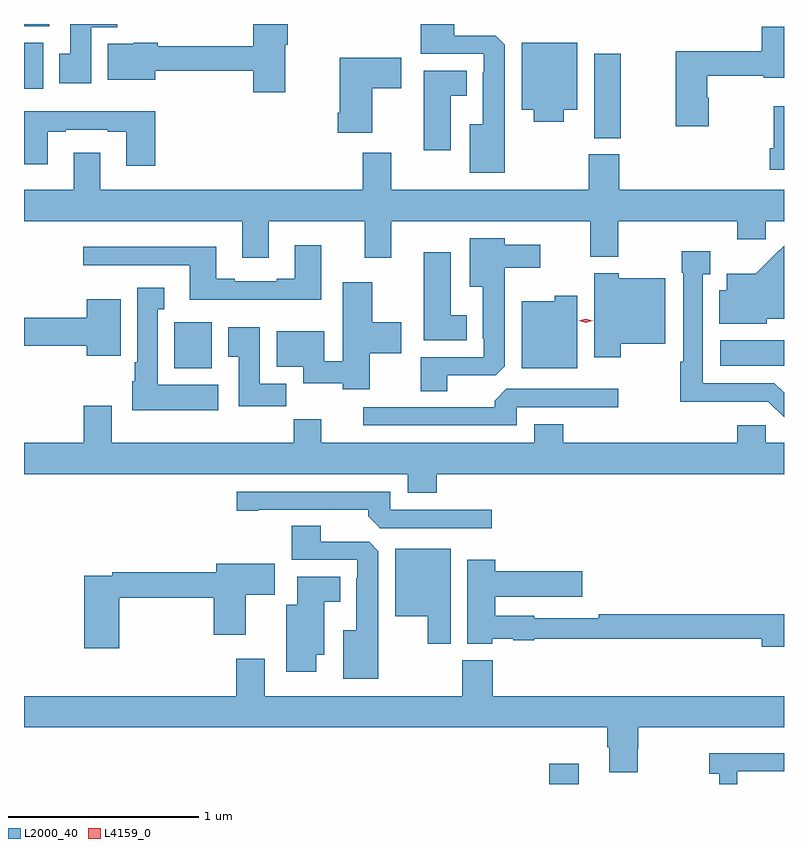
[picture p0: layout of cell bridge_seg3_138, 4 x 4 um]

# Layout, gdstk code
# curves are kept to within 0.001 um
import gdstk
lib = gdstk.Library(unit=1e-6, precision=1e-09)
def R(c, l, rs):  # rectangles x0, y0, x1, y1
    for r in rs: c.add(gdstk.rectangle(r[:2], r[2:], *l))
def P(c, l, *ps):  # polygons
    for p in ps: c.add(gdstk.Polygon(p, *l))
L2000_40 = (2000, 40)
L4159_0 = (4159, 0)

bridge_seg3_138 = lib.new_cell('bridge_seg3_138')
R(bridge_seg3_138, L2000_40, [(323.845,668.649,324.001,668.755), (321.872,670.838,322.069,671.08), (324.744,670.85,325.08,670.984), (324.08,672.049,324.222,672.493), (321.08,672.308,321.181,672.55), (321.08,672.638,321.214,672.649)])
P(bridge_seg3_138, L2000_40, [(321.433,672.632),(321.572,672.632),(321.572,672.649),(321.323,672.649),(321.323,672.492),(321.266,672.492),(321.266,672.336),(321.433,672.336)],
  [(323.611,672.539),(323.562,672.588),(323.344,672.588),(323.344,672.649),(323.168,672.649),(323.168,672.492),(323.499,672.492),(323.499,672.395),(323.495,672.395),(323.495,672.121),(323.426,672.121),(323.426,671.867),(323.611,671.867)],
  [(322.456,672.539),(322.469,672.539),(322.469,672.649),(322.286,672.649),(322.286,672.532),(321.785,672.532),(321.785,672.55),(321.654,672.55),(321.654,672.544),(321.521,672.544),(321.521,672.356),(321.772,672.356),(321.772,672.403),(322.286,672.403),(322.286,672.291),(322.456,672.291)],
  [(324.684,672.261),(324.676,672.261),(324.676,672.376),(324.974,672.376),(324.974,672.366),(325.08,672.366),(325.08,672.634),(324.962,672.634),(324.962,672.505),(324.511,672.505),(324.511,672.111),(324.684,672.111)],
  [(323.92,672.197),(323.992,672.197),(323.992,672.55),(323.699,672.55),(323.699,672.197),(323.762,672.197),(323.762,672.134),(323.92,672.134)],
  [(322.912,672.31),(323.065,672.31),(323.065,672.472),(322.742,672.472),(322.742,672.181),(322.73,672.181),(322.73,672.077),(322.912,672.077)],
  [(323.326,672.272),(323.41,672.272),(323.41,672.403),(323.183,672.403),(323.183,671.985),(323.326,671.985)],
  [(325.08,672.217),(325.026,672.217),(325.026,671.995),(325.006,671.995),(325.006,671.883),(325.08,671.883)],
  [(321.77,672.19),(321.08,672.19),(321.08,671.912),(321.205,671.912),(321.205,672.081),(321.301,672.081),(321.301,672.093),(321.521,672.093),(321.521,672.081),(321.617,672.081),(321.617,671.904),(321.77,671.904)],
  [(322.369,671.612),(322.874,671.612),(322.874,671.418),(323.014,671.418),(323.014,671.612),(324.059,671.612),(324.059,671.423),(324.207,671.423),(324.207,671.612),(324.833,671.612),(324.833,671.517),(324.984,671.517),(324.984,671.612),(325.08,671.612),(325.08,671.776),(324.212,671.776),(324.212,671.964),(324.052,671.964),(324.052,671.776),(323.014,671.776),(323.014,671.971),(322.862,671.971),(322.862,671.776),(321.481,671.776),(321.481,671.971),(321.341,671.971),(321.341,671.776),(321.08,671.776),(321.08,671.612),(322.229,671.612),(322.229,671.418),(322.369,671.418)],
  [(323.308,670.8),(323.562,670.8),(323.611,670.849),(323.611,671.366),(323.797,671.366),(323.797,671.488),(323.611,671.488),(323.611,671.521),(323.426,671.521),(323.426,671.267),(323.495,671.267),(323.495,670.993),(323.499,670.993),(323.499,670.896),(323.168,670.896),(323.168,670.717),(323.308,670.717)],
  [(322.645,671.485),(322.505,671.485),(322.505,671.308),(322.409,671.308),(322.409,671.295),(322.189,671.295),(322.189,671.308),(322.093,671.308),(322.093,671.476),(321.393,671.476),(321.393,671.379),(321.953,671.379),(321.953,671.198),(322.645,671.198)],
  [(324.99,671.099),(325.08,671.099),(325.08,671.482),(325.034,671.437),(324.931,671.335),(324.779,671.335),(324.779,671.248),(324.74,671.248),(324.74,671.072),(324.99,671.072)],
  [(325.08,670.707),(325.029,670.758),(324.652,670.758),(324.652,671.331),(324.691,671.331),(324.691,671.452),(324.541,671.452),(324.541,671.339),(324.551,671.339),(324.551,670.871),(324.534,670.871),(324.534,670.661),(324.996,670.662),(325.08,670.578)],
  [(323.41,671.116),(323.326,671.116),(323.326,671.449),(323.183,671.449),(323.183,670.985),(323.41,670.985)],
  [(324.222,670.967),(324.454,670.967),(324.454,671.311),(324.21,671.311),(324.21,671.338),(324.08,671.338),(324.08,670.896),(324.222,670.896)],
  [(322.9,670.916),(323.065,670.916),(323.065,671.079),(322.912,671.079),(322.912,671.29),(322.757,671.29),(322.757,670.875),(322.66,670.875),(322.66,671.032),(322.409,671.032),(322.409,670.844),(322.55,670.844),(322.55,670.757),(322.757,670.757),(322.757,670.727),(322.9,670.727)],
  [(322.102,670.75),(321.784,670.75),(321.784,671.147),(321.817,671.147),(321.817,671.26),(321.677,671.26),(321.677,670.87),(321.662,670.87),(321.662,670.77),(321.65,670.77),(321.65,670.616),(322.102,670.616)],
  [(323.992,671.218),(323.874,671.218),(323.874,671.191),(323.699,671.191),(323.699,670.838),(323.992,670.838)],
  [(321.589,671.2),(321.41,671.2),(321.41,671.102),(321.08,671.102),(321.08,670.955),(321.41,670.955),(321.41,670.904),(321.589,670.904)],
  [(322.46,670.756),(322.321,670.756),(322.321,671.053),(322.154,671.053),(322.154,670.897),(322.211,670.897),(322.211,670.638),(322.46,670.638)],
  [(323.673,670.632),(324.208,670.632),(324.208,670.728),(323.619,670.728),(323.558,670.666),(323.558,670.632),(322.866,670.632),(322.866,670.536),(323.673,670.536)],
  [(323.099,670.181),(323.252,670.181),(323.252,670.28),(325.08,670.28),(325.08,670.444),(324.984,670.444),(324.984,670.537),(324.833,670.537),(324.833,670.444),(323.918,670.444),(323.918,670.543),(323.765,670.543),(323.765,670.444),(322.645,670.444),(322.645,670.568),(322.501,670.568),(322.501,670.444),(321.541,670.444),(321.541,670.639),(321.394,670.639),(321.394,670.444),(321.08,670.444),(321.08,670.28),(323.099,670.28)],
  [(323.542,670.092),(323.007,670.092),(323.007,670.188),(322.2,670.188),(322.2,670.087),(322.312,670.087),(322.312,670.092),(322.892,670.092),(322.892,670.058),(322.944,670.005),(322.953,669.996),(323.542,669.996)],
  [(322.945,669.875),(322.896,669.924),(322.642,669.924),(322.642,670.007),(322.49,670.007),(322.49,669.828),(322.833,669.828),(322.833,669.731),(322.829,669.731),(322.829,669.457),(322.76,669.457),(322.76,669.203),(322.945,669.203)],
  [(323.326,669.886),(323.033,669.886),(323.033,669.533),(323.204,669.533),(323.204,669.387),(323.326,669.387)],
  [(325.08,669.542),(324.106,669.542),(324.106,669.522),(323.766,669.522),(323.766,669.535),(323.561,669.535),(323.561,669.635),(324.019,669.635),(324.019,669.77),(323.561,669.77),(323.561,669.829),(323.414,669.829),(323.414,669.386),(323.544,669.386),(323.544,669.413),(323.655,669.413),(323.655,669.406),(323.766,669.406),(323.766,669.414),(324.962,669.414),(324.962,669.371),(325.08,669.371)],
  [(321.581,669.628),(322.079,669.628),(322.079,669.435),(322.246,669.435),(322.246,669.646),(322.399,669.646),(322.399,669.808),(322.091,669.808),(322.091,669.764),(321.544,669.764),(321.544,669.744),(321.398,669.744),(321.398,669.363),(321.581,669.363)],
  [(322.618,669.329),(322.66,669.329),(322.66,669.608),(322.744,669.608),(322.744,669.739),(322.517,669.739),(322.517,669.592),(322.46,669.592),(322.46,669.24),(322.618,669.24)],
  [(324.309,668.835),(324.314,668.835),(324.314,668.948),(325.08,668.948),(325.08,669.112),(323.546,669.112),(323.546,669.301),(323.386,669.301),(323.386,669.112),(322.348,669.112),(322.348,669.307),(322.196,669.307),(322.196,669.112),(321.08,669.112),(321.08,668.948),(324.149,668.948),(324.149,668.842),(324.161,668.842),(324.161,668.71),(324.309,668.71)],
  [(324.835,668.715),(325.08,668.715),(325.08,668.812),(324.687,668.812),(324.687,668.702),(324.738,668.702),(324.738,668.649),(324.835,668.649)])
P(bridge_seg3_138, L4159_0, [(324.036,671.077),(323.999,671.086),(323.999,671.086),(323.999,671.086),(324.036,671.097),(324.072,671.088),(324.073,671.088),(324.072,671.088)])

lib.write_gds('bridge_seg3_138.gds')
